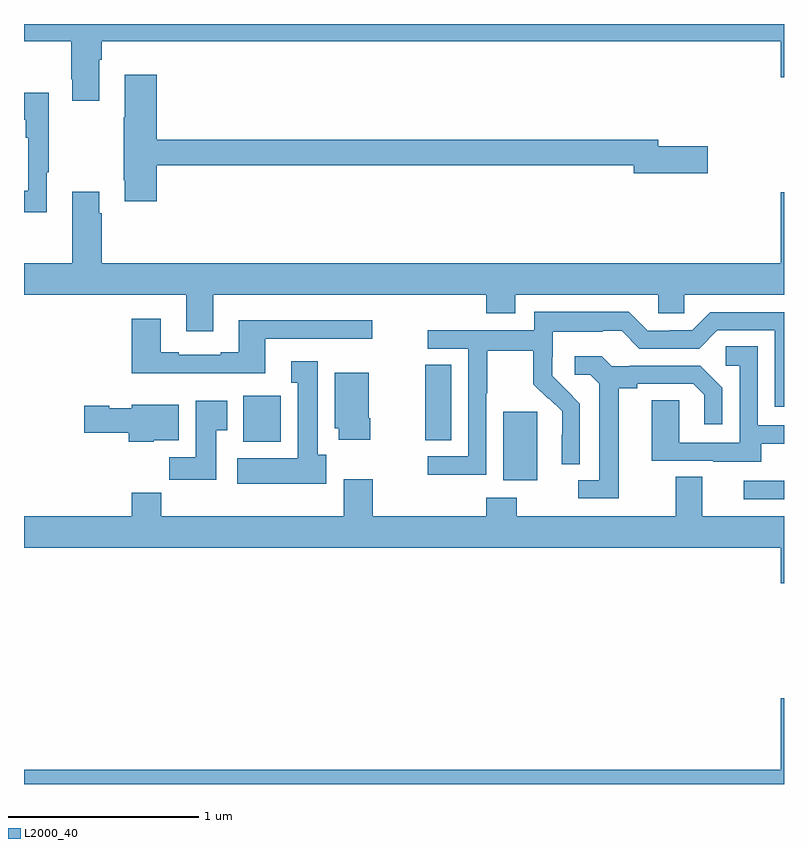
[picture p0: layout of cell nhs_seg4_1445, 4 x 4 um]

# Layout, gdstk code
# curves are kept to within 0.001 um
import gdstk
lib = gdstk.Library(unit=1e-6, precision=1e-09)
def R(c, l, rs):  # rectangles x0, y0, x1, y1
    for r in rs: c.add(gdstk.rectangle(r[:2], r[2:], *l))
def P(c, l, *ps):  # polygons
    for p in ps: c.add(gdstk.Polygon(p, *l))
L2000_40 = (2000, 40)

nhs_seg4_1445 = lib.new_cell('nhs_seg4_1445')
R(nhs_seg4_1445, L2000_40, [(188.787,806.4,189,806.496), (187.523,806.498,187.702,806.859), (186.155,806.702,186.352,806.944), (187.111,806.71,187.249,807.107)])
P(nhs_seg4_1445, L2000_40, [(185.395,808.712),(185.408,808.712),(185.408,808.808),(188.984,808.808),(188.984,808.62),(189,808.62),(189,808.9),(185,808.9),(185,808.808),(185.248,808.808),(185.248,808.609),(185.255,808.609),(185.255,808.497),(185.395,808.497)],
  [(185.699,808.156),(188.21,808.156),(188.21,808.114),(188.599,808.114),(188.599,808.256),(188.338,808.256),(188.338,808.292),(185.699,808.292),(185.699,808.633),(185.531,808.633),(185.531,808.409),(185.524,808.409),(185.524,808.078),(185.531,808.078),(185.531,807.966),(185.699,807.966)],
  [(185.119,808.121),(185.131,808.121),(185.131,808.537),(185,808.537),(185,808.397),(185.01,808.397),(185.01,808.301),(185.022,808.301),(185.022,808.022),(185,808.022),(185,807.909),(185.119,807.909)],
  [(185.995,807.476),(187.433,807.476),(187.433,807.377),(187.585,807.377),(187.585,807.476),(188.337,807.476),(188.337,807.378),(188.475,807.378),(188.475,807.476),(189,807.476),(189,808.015),(188.984,808.015),(188.984,807.64),(185.408,807.64),(185.408,807.905),(185.395,807.905),(185.395,808.018),(185.255,808.018),(185.255,807.64),(185,807.64),(185,807.476),(185.855,807.476),(185.855,807.282),(185.995,807.282)],
  [(187.434,806.956),(187.437,806.956),(187.437,807.18),(187.681,807.18),(187.681,807.005),(187.758,806.928),(187.761,806.931),(187.832,806.861),(187.832,806.738),(187.83,806.738),(187.83,806.584),(187.926,806.584),(187.926,806.902),(187.78,807.05),(187.78,807.147),(187.782,807.147),(187.782,807.281),(188.045,807.281),(188.045,807.285),(188.145,807.285),(188.238,807.192),(188.553,807.192),(188.649,807.288),(188.952,807.288),(188.952,806.886),(189,806.886),(189,807.384),(188.613,807.384),(188.517,807.288),(188.399,807.288),(188.399,807.285),(188.283,807.285),(188.183,807.385),(187.686,807.385),(187.686,807.288),(187.125,807.288),(187.125,807.192),(187.338,807.192),(187.338,806.625),(187.125,806.625),(187.125,806.527),(187.434,806.527)],
  [(186.271,807.243),(186.832,807.243),(186.832,807.34),(186.131,807.34),(186.131,807.172),(186.035,807.172),(186.035,807.159),(185.815,807.159),(185.815,807.172),(185.719,807.172),(185.719,807.349),(185.567,807.349),(185.567,807.062),(186.271,807.062)],
  [(188.881,806.691),(189,806.691),(189,806.787),(188.862,806.787),(188.862,807.203),(188.694,807.203),(188.694,807.102),(188.766,807.102),(188.766,806.697),(188.448,806.697),(188.448,806.921),(188.303,806.921),(188.303,806.601),(188.627,806.601),(188.627,806.597),(188.881,806.597)],
  [(188.131,806.984),(188.227,806.984),(188.227,807.006),(188.522,807.006),(188.579,806.949),(188.579,806.793),(188.676,806.793),(188.676,806.986),(188.56,807.102),(188.188,807.102),(188.188,807.099),(188.094,807.099),(188.042,807.151),(187.899,807.151),(187.899,807.054),(187.98,807.054),(188.027,807.007),(188.027,806.499),(187.917,806.499),(187.917,806.403),(188.131,806.403)],
  [(186.592,806.634),(186.547,806.634),(186.547,807.124),(186.407,807.124),(186.407,807.011),(186.44,807.011),(186.44,806.614),(186.123,806.614),(186.123,806.48),(186.592,806.48)],
  [(186.822,806.824),(186.814,806.824),(186.814,807.064),(186.635,807.064),(186.635,806.772),(186.656,806.772),(186.656,806.712),(186.822,806.712)],
  [(186.013,806.761),(186.07,806.761),(186.07,806.917),(185.903,806.917),(185.903,806.62),(185.764,806.62),(185.764,806.502),(186.013,806.502)],
  [(185.682,806.708),(185.815,806.708),(185.815,806.896),(185.568,806.896),(185.568,806.878),(185.448,806.878),(185.448,806.891),(185.316,806.891),(185.316,806.749),(185.552,806.749),(185.552,806.702),(185.682,806.702)],
  [(189,806.308),(188.569,806.308),(188.569,806.516),(188.429,806.516),(188.429,806.308),(187.593,806.308),(187.593,806.407),(187.433,806.407),(187.433,806.308),(186.836,806.308),(186.836,806.503),(186.683,806.503),(186.683,806.308),(185.723,806.308),(185.723,806.432),(185.567,806.432),(185.567,806.308),(185,806.308),(185,806.144),(188.984,806.144),(188.984,805.956),(189,805.956)],
  [(189,805.351),(188.984,805.351),(188.984,804.976),(185,804.976),(185,804.9),(189,804.9)])

lib.write_gds('nhs_seg4_1445.gds')
